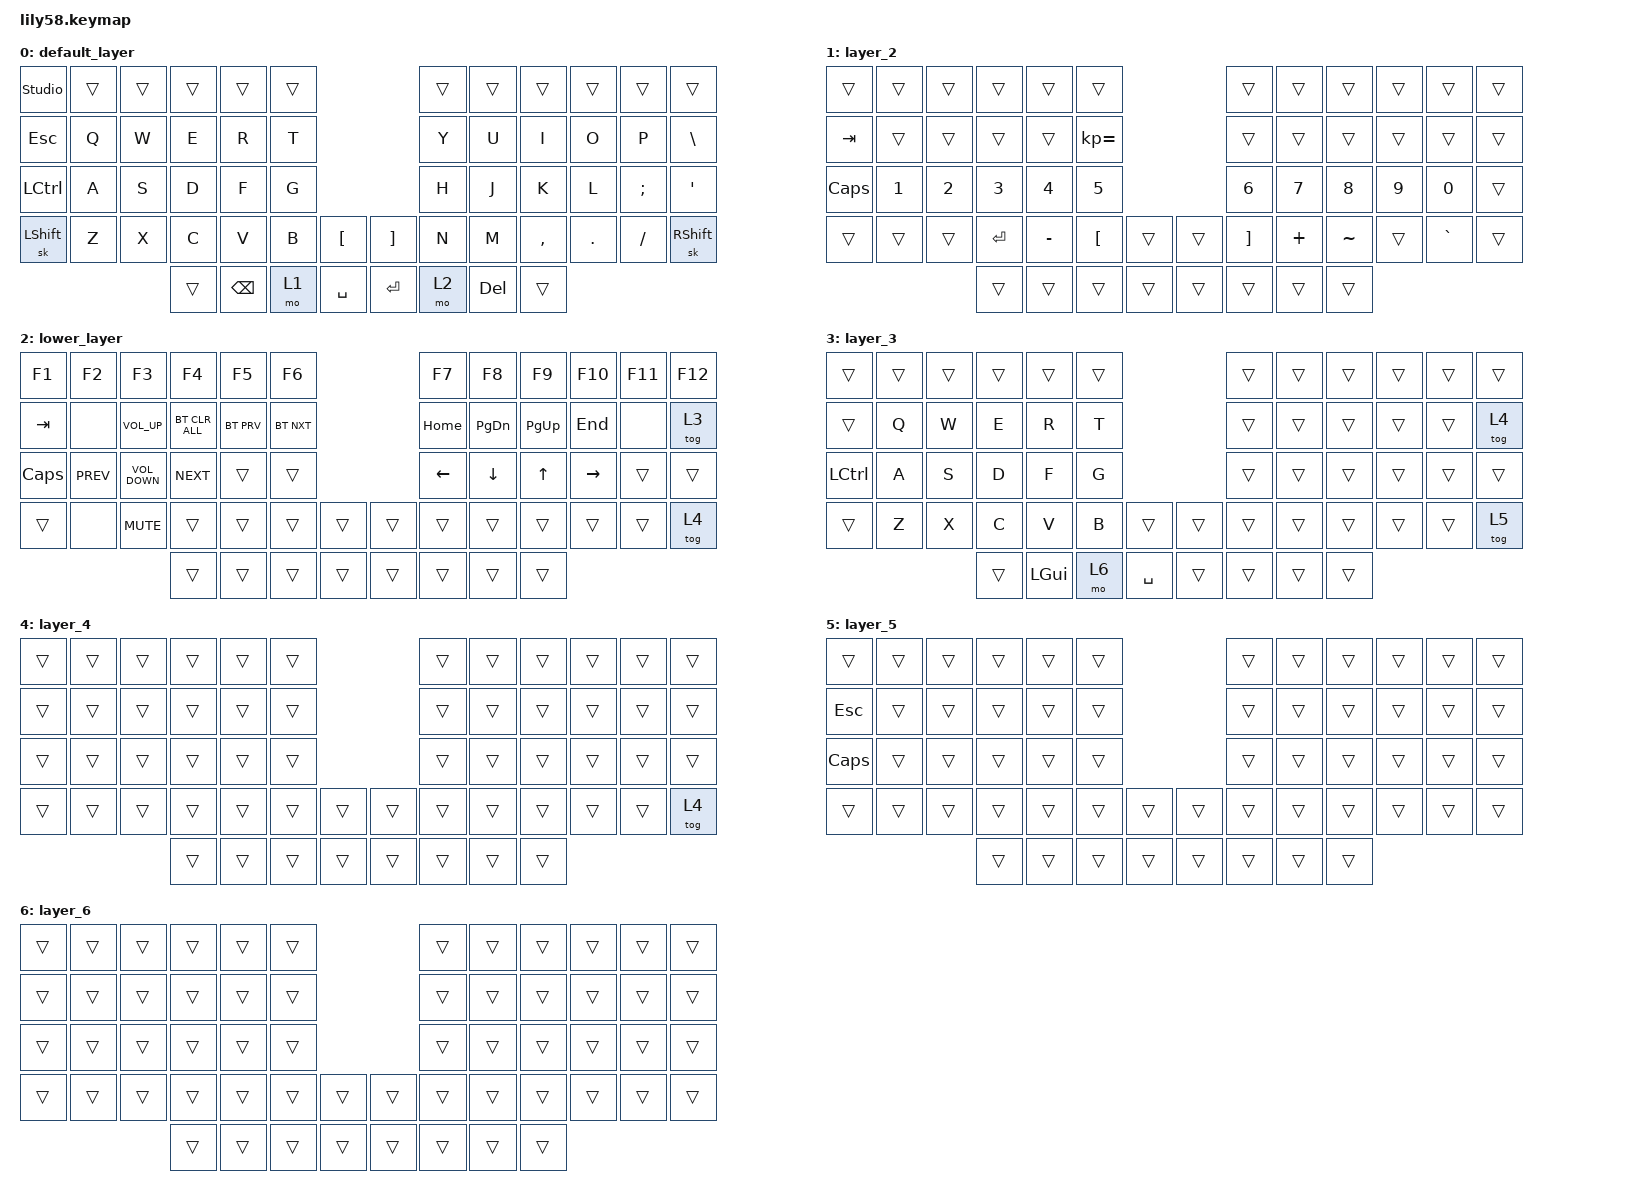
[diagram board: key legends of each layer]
/*
 * Copyright (c) 2020 The ZMK Contributors
 *
 * SPDX-License-Identifier: MIT
 */

#include <behaviors.dtsi>
#include <dt-bindings/zmk/bt.h>
#include <dt-bindings/zmk/keys.h>

// #include <dt-bindings/zmk/ext_power.h>
/*
 * To practice explicit layer - &none between layers instead of &transfer
 * Except modifier keys like alt, ctrl, shift for app hotkeys
 * 
 * Future would be cool to have following
 * 1. Automatic plover activation based on grouping
 * 2. Automatic plover disable (maybe manual exit/pause would be better)
 */

&sk {
    release-after-ms = <100>;
    quick-release;
    ignore-modifiers;
};

/ {
    behaviors {
        qlt: quick-layer-tap {
            compatible = "zmk,behavior-hold-tap";
            label = "QUICK_LAYER_TAP";
            #binding-cells = <2>;
            flavor = "tap-preferred";
            tapping-term-ms = <100>;
            quick-tap-ms = <0>;
            bindings = <&mo>, <&kp>;
        };
    };

    combos {
        compatible = "zmk,combos";

        Win_Combo_Left {
            bindings = <&kp LEFT_GUI>;
            key-positions = <28 27>;
            layers = <0>;
        };

        Win_Combo_Right {
            bindings = <&kp LEFT_GUI>;
            key-positions = <32 31>;
            layers = <0>;
        };

        Alt_Combo_Left {
            bindings = <&kp LEFT_ALT>;
            key-positions = <28 27 26>;
            layers = <0>;
        };

        Alt_Combo_Right {
            bindings = <&kp LEFT_ALT>;
            key-positions = <31 32 33>;
        };
    };

    keymap {
        compatible = "zmk,keymap";

        default_layer {
            bindings = <
&studio_unlock  &trans  &trans  &trans  &trans         &trans                                       &trans  &trans      &trans     &trans   &trans         &trans
&kp ESCAPE      &kp Q   &kp W   &kp E   &kp R          &kp T                                        &kp Y   &kp U       &kp I      &kp O    &kp P          &kp BACKSLASH
&kp LCTRL       &kp A   &kp S   &kp D   &kp F          &kp G                                        &kp H   &kp J       &kp K      &kp L    &kp SEMICOLON  &kp SQT
&sk LSHFT       &kp Z   &kp X   &kp C   &kp V          &kp B   &kp LEFT_BRACKET  &kp RIGHT_BRACKET  &kp N   &kp M       &kp COMMA  &kp DOT  &kp FSLH       &sk RSHFT
                                &trans  &kp BACKSPACE  &mo 1   &kp SPACE         &kp ENTER          &mo 2   &kp DELETE  &trans
            >;
        };

        layer_2 {
            bindings = <
&trans        &trans        &trans        &trans        &trans        &trans                            &trans             &trans    &trans     &trans  &trans     &trans
&kp TAB       &trans        &trans        &trans        &trans        &kp KP_EQUAL                      &trans             &trans    &trans     &trans  &trans     &trans
&kp CAPSLOCK  &kp NUMBER_1  &kp NUMBER_2  &kp NUMBER_3  &kp NUMBER_4  &kp N5                            &kp NUMBER_6       &kp N7    &kp N8     &kp N9  &kp N0     &trans
&trans        &trans        &trans        &kp ENTER     &kp MINUS     &kp LEFT_BRACKET  &trans  &trans  &kp RIGHT_BRACKET  &kp PLUS  &kp TILDE  &trans  &kp GRAVE  &trans
                                          &trans        &trans        &trans            &trans  &trans  &trans             &trans    &trans
            >;
        };

        lower_layer {
            bindings = <
&kp F1    &kp F2      &kp F3             &kp F4          &kp F5      &kp F6                      &kp F7    &kp F8         &kp F9       &kp F10    &kp F11  &kp F12
&kp TAB   &none       &kp C_VOL_UP       &bt BT_CLR_ALL  &bt BT_PRV  &bt BT_NXT                  &kp HOME  &kp PAGE_DOWN  &kp PAGE_UP  &kp END    &none    &tog 3
&kp CAPS  &kp C_PREV  &kp C_VOLUME_DOWN  &kp C_NEXT      &trans      &trans                      &kp LEFT  &kp DOWN       &kp UP       &kp RIGHT  &trans   &trans
&trans    &none       &kp C_MUTE         &trans          &trans      &trans      &trans  &trans  &trans    &trans         &trans       &trans     &trans   &tog 4
                                         &trans          &trans      &trans      &trans  &trans  &trans    &trans         &trans
            >;
        };

        layer_3 {
            bindings = <
&trans            &trans  &trans  &trans  &trans    &trans                     &trans  &trans  &trans  &trans  &trans  &trans
&trans            &kp Q   &kp W   &kp E   &kp R     &kp T                      &trans  &trans  &trans  &trans  &trans  &tog 4
&kp LEFT_CONTROL  &kp A   &kp S   &kp D   &kp F     &kp G                      &trans  &trans  &trans  &trans  &trans  &trans
&trans            &kp Z   &kp X   &kp C   &kp V     &kp B   &trans     &trans  &trans  &trans  &trans  &trans  &trans  &tog 5
                                  &trans  &kp LGUI  &mo 6   &kp SPACE  &trans  &trans  &trans  &trans
            >;
        };

        layer_4 {
            bindings = <
&trans  &trans  &trans  &trans  &trans  &trans                  &trans  &trans  &trans  &trans  &trans  &trans
&trans  &trans  &trans  &trans  &trans  &trans                  &trans  &trans  &trans  &trans  &trans  &trans
&trans  &trans  &trans  &trans  &trans  &trans                  &trans  &trans  &trans  &trans  &trans  &trans
&trans  &trans  &trans  &trans  &trans  &trans  &trans  &trans  &trans  &trans  &trans  &trans  &trans  &tog 4
                        &trans  &trans  &trans  &trans  &trans  &trans  &trans  &trans
            >;
        };

        layer_5 {
            bindings = <
&trans      &trans  &trans  &trans  &trans  &trans                  &trans  &trans  &trans  &trans  &trans  &trans
&kp ESCAPE  &trans  &trans  &trans  &trans  &trans                  &trans  &trans  &trans  &trans  &trans  &trans
&kp CAPS    &trans  &trans  &trans  &trans  &trans                  &trans  &trans  &trans  &trans  &trans  &trans
&trans      &trans  &trans  &trans  &trans  &trans  &trans  &trans  &trans  &trans  &trans  &trans  &trans  &trans
                            &trans  &trans  &trans  &trans  &trans  &trans  &trans  &trans
            >;
        };

        layer_6 {
            bindings = <
&trans  &trans  &trans  &trans  &trans  &trans                  &trans  &trans  &trans  &trans  &trans  &trans
&trans  &trans  &trans  &trans  &trans  &trans                  &trans  &trans  &trans  &trans  &trans  &trans
&trans  &trans  &trans  &trans  &trans  &trans                  &trans  &trans  &trans  &trans  &trans  &trans
&trans  &trans  &trans  &trans  &trans  &trans  &trans  &trans  &trans  &trans  &trans  &trans  &trans  &trans
                        &trans  &trans  &trans  &trans  &trans  &trans  &trans  &trans
            >;
        };
    };
};
